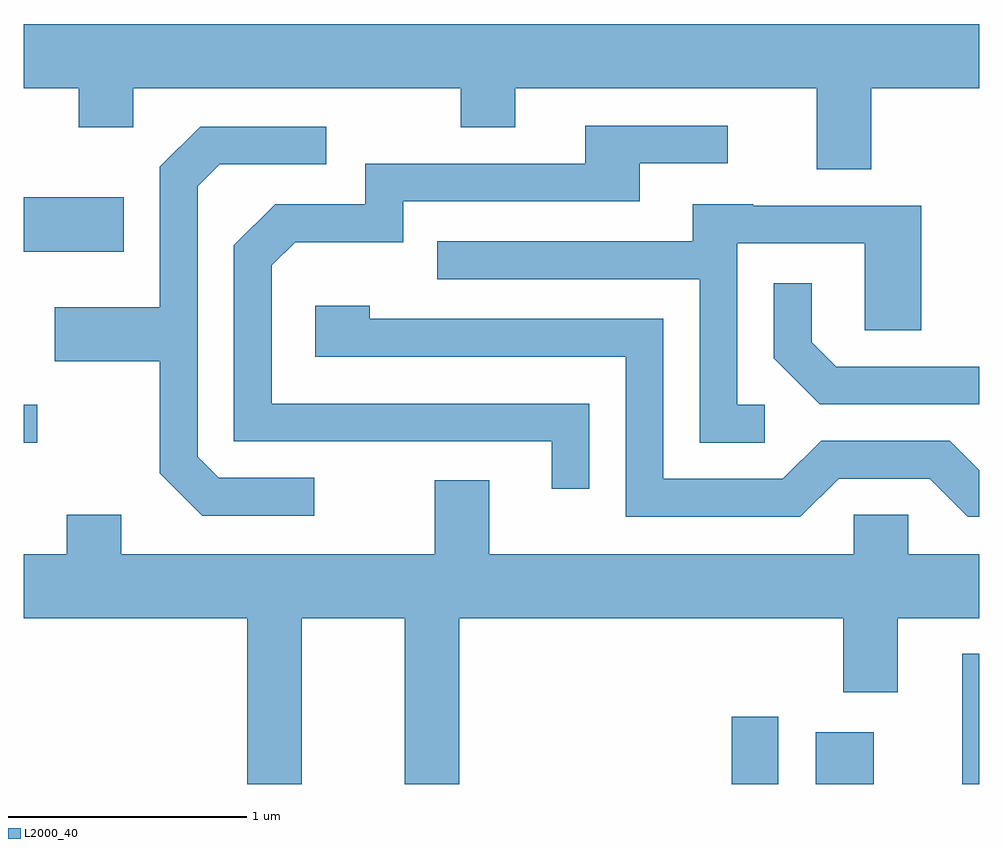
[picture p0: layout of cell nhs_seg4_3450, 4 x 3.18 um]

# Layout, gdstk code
import gdstk
lib = gdstk.Library(unit=1e-6, precision=1e-09)
def R(c, l, rs):  # rectangles x0, y0, x1, y1
    for r in rs: c.add(gdstk.rectangle(r[:2], r[2:], *l))
def P(c, l, *ps):  # polygons
    for p in ps: c.add(gdstk.Polygon(p, *l))
L2000_40 = (2000, 40)

nhs_seg4_3450 = lib.new_cell('nhs_seg4_3450')
R(nhs_seg4_3450, L2000_40, [(288.576,1353.982,288.769,1354.264), (288.926,1353.982,289.169,1354.199), (289.541,1353.982,289.611,1354.528), (285.611,1355.411,285.668,1355.569), (285.611,1356.211,286.029,1356.439)])
P(nhs_seg4_3450, L2000_40, [(289.159,1356.896),(289.611,1356.896),(289.611,1357.164),(285.611,1357.164),(285.611,1356.896),(285.841,1356.896),(285.841,1356.731),(286.069,1356.731),(286.069,1356.896),(287.441,1356.896),(287.441,1356.731),(287.669,1356.731),(287.669,1356.896),(288.931,1356.896),(288.931,1356.556),(289.159,1356.556)],
  [(287.979,1355.574),(286.649,1355.574),(286.649,1356.154),(286.747,1356.251),(287.199,1356.251),(287.199,1356.421),(288.189,1356.421),(288.189,1356.581),(288.558,1356.581),(288.558,1356.739),(287.961,1356.739),(287.961,1356.579),(287.041,1356.579),(287.041,1356.409),(286.664,1356.409),(286.491,1356.237),(286.491,1355.416),(287.821,1355.416),(287.821,1355.218),(287.979,1355.218)],
  [(286.828,1355.264),(286.427,1355.264),(286.339,1355.352),(286.339,1356.484),(286.432,1356.576),(286.878,1356.576),(286.878,1356.734),(286.349,1356.734),(286.181,1356.567),(286.181,1355.979),(285.741,1355.979),(285.741,1355.751),(286.181,1355.751),(286.181,1355.284),(286.359,1355.106),(286.828,1355.106)],
  [(288.713,1355.569),(288.599,1355.569),(288.599,1356.246),(289.131,1356.246),(289.131,1355.881),(289.369,1355.881),(289.369,1356.404),(288.665,1356.404),(288.665,1356.409),(288.411,1356.409),(288.411,1356.254),(287.343,1356.254),(287.343,1356.096),(288.441,1356.096),(288.441,1355.411),(288.713,1355.411)],
  [(289.611,1355.729),(289.012,1355.729),(288.909,1355.832),(288.909,1356.078),(288.751,1356.078),(288.751,1355.764),(288.944,1355.571),(289.611,1355.571)],
  [(289.022,1355.261),(289.404,1355.261),(289.564,1355.101),(289.611,1355.101),(289.611,1355.295),(289.487,1355.419),(288.949,1355.419),(288.789,1355.259),(288.289,1355.259),(288.289,1355.929),(287.059,1355.929),(287.059,1355.984),(286.831,1355.984),(286.831,1355.771),(288.131,1355.771),(288.131,1355.101),(288.862,1355.101)],
  [(286.774,1354.676),(287.206,1354.676),(287.206,1353.982),(287.434,1353.982),(287.434,1354.676),(289.041,1354.676),(289.041,1354.366),(289.269,1354.366),(289.269,1354.676),(289.611,1354.676),(289.611,1354.944),(289.314,1354.944),(289.314,1355.109),(289.086,1355.109),(289.086,1354.944),(287.559,1354.944),(287.559,1355.254),(287.331,1355.254),(287.331,1354.944),(286.019,1354.944),(286.019,1355.109),(285.791,1355.109),(285.791,1354.944),(285.611,1354.944),(285.611,1354.676),(286.546,1354.676),(286.546,1353.982),(286.774,1353.982)])

lib.write_gds('nhs_seg4_3450.gds')
